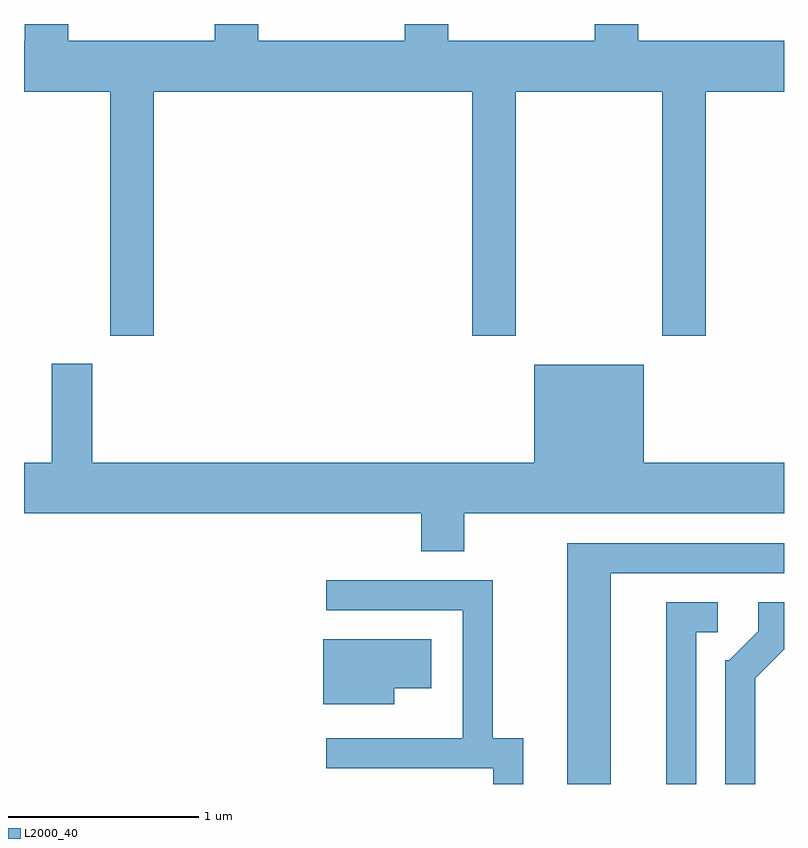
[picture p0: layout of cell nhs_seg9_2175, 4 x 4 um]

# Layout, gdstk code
import gdstk
lib = gdstk.Library(unit=1e-6, precision=1e-09)
def P(c, l, *ps):  # polygons
    for p in ps: c.add(gdstk.Polygon(p, *l))
L2000_40 = (2000, 40)

nhs_seg9_2175 = lib.new_cell('nhs_seg9_2175')
P(nhs_seg9_2175, L2000_40, [(250.294,1954.076),(251.971,1954.076),(251.971,1952.791),(252.199,1952.791),(252.199,1954.076),(252.971,1954.076),(252.971,1952.791),(253.199,1952.791),(253.199,1954.076),(253.611,1954.076),(253.611,1954.344),(252.844,1954.344),(252.844,1954.432),(252.616,1954.432),(252.616,1954.344),(251.844,1954.344),(251.844,1954.432),(251.616,1954.432),(251.616,1954.344),(250.844,1954.344),(250.844,1954.432),(250.616,1954.432),(250.616,1954.344),(249.844,1954.344),(249.844,1954.432),(249.616,1954.432),(249.616,1954.344),(249.611,1954.344),(249.611,1954.076),(250.066,1954.076),(250.066,1952.791),(250.294,1952.791)],
  [(249.756,1952.644),(249.756,1952.124),(249.611,1952.124),(249.611,1951.856),(251.701,1951.856),(251.701,1951.656),(251.929,1951.656),(251.929,1951.856),(253.611,1951.856),(253.611,1952.124),(252.874,1952.124),(252.874,1952.639),(252.296,1952.639),(252.296,1952.124),(249.969,1952.124),(249.969,1952.644)],
  [(252.699,1951.541),(253.611,1951.541),(253.611,1951.699),(252.471,1951.699),(252.471,1950.432),(252.699,1950.432)],
  [(252.239,1950.674),(252.079,1950.674),(252.079,1951.504),(251.203,1951.504),(251.203,1951.346),(251.921,1951.346),(251.921,1950.674),(251.203,1950.674),(251.203,1950.516),(252.081,1950.516),(252.081,1950.432),(252.239,1950.432)],
  [(253.149,1951.231),(253.263,1951.231),(253.263,1951.389),(252.991,1951.389),(252.991,1950.432),(253.149,1950.432)],
  [(253.459,1950.989),(253.611,1951.141),(253.611,1951.389),(253.476,1951.389),(253.476,1951.237),(253.324,1951.084),(253.301,1951.084),(253.301,1950.432),(253.459,1950.432)],
  [(251.559,1950.936),(251.754,1950.936),(251.754,1951.194),(251.186,1951.194),(251.186,1950.851),(251.559,1950.851)])

lib.write_gds('nhs_seg9_2175.gds')
